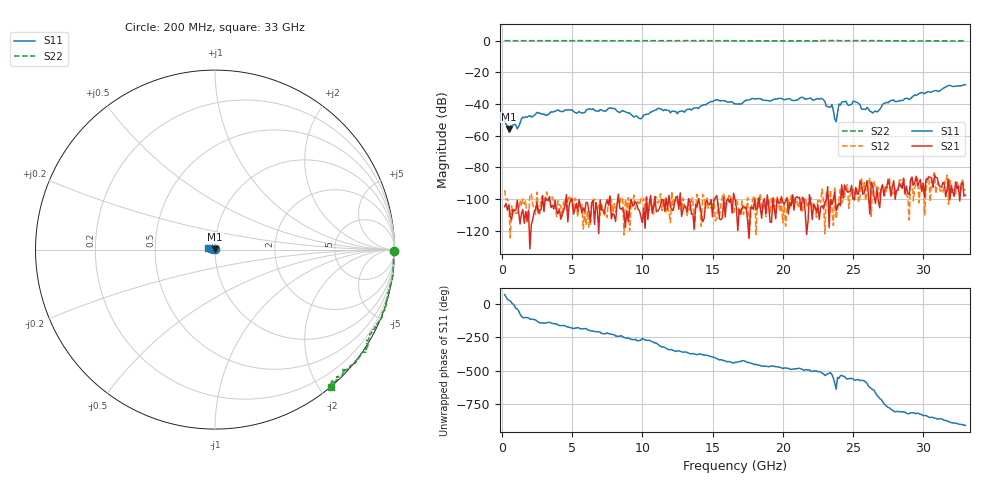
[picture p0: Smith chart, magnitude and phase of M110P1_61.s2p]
# GHZ S RI R 50
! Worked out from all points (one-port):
!   329 points, 200 MHz to 33 GHz, reference 50 ohm
!   lowest |S11| = -55.9 dB at 500 MHz (marker M1), VSWR 1.00, Z = 50.1 + j0.0703 ohm
!   |S11| at or under -10 dB: start of sweep to end of sweep
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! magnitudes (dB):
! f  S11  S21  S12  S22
! 200 MHz  -51.0  -105.0  -94.4  0.0
! 500 MHz  -55.9  -104.1  -103.0  0.0
! 900 MHz  -52.9  -107.5  -106.7  0.0
! 1.1 GHz  -55.8  -100.9  -108.9  0.0
! 1.5 GHz  -48.3  -106.7  -100.1  0.0
! 2.5 GHz  -45.4  -102.2  -95.7  0.0
! 5.7 GHz  -45.8  -108.8  -103.5  0.0
! 8 GHz  -42.7  -110.2  -103.0  0.0
! 9.9 GHz  -49.4  -111.2  -99.9  0.0
! 11.2 GHz  -42.8  -106.3  -101.1  0.0
! 12.5 GHz  -46.1  -98.3  -101.7  -0.1
! 15.2 GHz  -37.6  -99.4  -113.9  0.0
! 16.6 GHz  -40.0  -100.2  -104.9  0.0
! 22.1 GHz  -37.4  -113.0  -105.8  -0.1
! 23.5 GHz  -40.4  -103.6  -106.0  0.1
! 23.8 GHz  -51.3  -107.5  -112.5  0.1
! 24 GHz  -40.0  -102.6  -99.9  0.0
! 24.3 GHz  -38.6  -99.6  -100.1  0.0
! 25.1 GHz  -38.3  -100.6  -100.4  0.0
! 26.4 GHz  -45.7  -91.4  -89.2  0.0
! 27.6 GHz  -38.3  -90.6  -86.5  -0.1
! 33 GHz  -27.8  -97.6  -94.2  0.0
